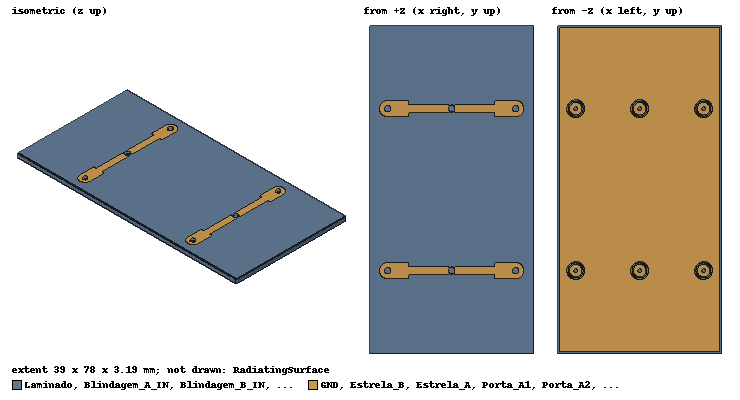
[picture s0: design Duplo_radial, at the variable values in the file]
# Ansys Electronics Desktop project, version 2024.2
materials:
  vacuum: permittivity=1
  ZYF300CA_P: permittivity=3 dielectric_loss_tangent=0.0018
  SAC305: permeability=1 conductivity=7575758
  PTFE_UT141: permittivity=2.036 dielectric_loss_tangent=0.0002
  copper: permeability=0.999991 conductivity=58000000

design Duplo_radial (HFSS, HFSS Hybrid Modal Network, model units mm)
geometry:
  Laminado [ZYF300CA_P] = box(corner=(-19.5mm, -39mm, 0mm), size=(39mm, 78mm, 1.52mm))
  GND = polyline(z=0mm, xy in mm: (-18.98, -38.48) (18.98, -38.48) (18.98, 38.48) (-18.98, 38.48) (-18.98, -38.48), closed, covered)
  Estrela_B = polyline(z=1.52mm, xy in mm: (-10.311, 21.16) (-10.311, 20.299) (-0.6, 20.299) (-0.6, 19.86522572) (-0.52353483, 19.93228387) (-0.43, 19.99478185) (-0.32910775, 20.0445364) (-0.22258438, 20.08069621) (-0.11225253, 20.10264258) (0, 20.11) (0.11225253, 20.10264258) (0.22258438, 20.08069621) (0.32910775, 20.0445364) (0.43, 19.99478185) (0.52353483, 19.93228387) (0.6, 19.86522572) (0.6, 20.299) (10.311, 20.299) (10.311, 21.16) (15.2, 21.16) (15.44930503, 21.14365969) (15.69434438, 21.09491833) (15.93092536, 21.01460991) (16.155, 20.90410852) (16.36273433, 20.76530488) (16.55057395, 20.60057395) (16.71530488, 20.41273433) (16.85410852, 20.205) (16.96460991, 19.98092536) (17.04491833, 19.74434438) (17.09365969, 19.49930503) (17.11, 19.25) (17.09365969, 19.00069497) (17.04491833, 18.75565562) (16.96460991, 18.51907464) (16.85410852, 18.295) (16.71530488, 18.08726567) (16.55057395, 17.89942605) (16.36273433, 17.73469512) (16.155, 17.59589148) (15.93092536, 17.48539009) (15.69434438, 17.40508167) (15.44930503, 17.35634031) (15.2, 17.34) (10.311, 17.34) (10.311, 18.201) (0.6, 18.201) (0.6, 18.63477428) (0.52353483, 18.56771613) (0.43, 18.50521815) (0.32910775, 18.4554636) (0.22258438, 18.41930379) (0.11225253, 18.39735742) (0, 18.39) (-0.11225253, 18.39735742) (-0.22258438, 18.41930379) (-0.32910775, 18.4554636) (-0.43, 18.50521815) (-0.52353483, 18.56771613) (-0.6, 18.63477428) (-0.6, 18.201) (-10.311, 18.201) (-10.311, 17.34) (-15.2, 17.34) (-15.44930503, 17.35634031) (-15.69434438, 17.40508167) (-15.93092536, 17.48539009) (-16.155, 17.59589148) (-16.36273433, 17.73469512) (-16.55057395, 17.89942605) (-16.71530488, 18.08726567) (-16.85410852, 18.295) (-16.96460991, 18.51907464) (-17.04491833, 18.75565562) (-17.09365969, 19.00069497) (-17.11, 19.25) (-17.09365969, 19.49930503) (-17.04491833, 19.74434438) (-16.96460991, 19.98092536) (-16.85410852, 20.205) (-16.71530488, 20.41273433) (-16.55057395, 20.60057395) (-16.36273433, 20.76530488) (-16.155, 20.90410852) (-15.93092536, 21.01460991) (-15.69434438, 21.09491833) (-15.44930503, 21.14365969) (-15.2, 21.16) (-15.2, 21.16) (-10.311, 21.16), closed, covered)
  Estrela_A = polyline(z=1.52mm, xy in mm: (-15.44930503, -21.14365969) (-15.69434438, -21.09491833) (-15.93092536, -21.01460991) (-16.155, -20.90410852) (-16.36273433, -20.76530488) (-16.55057395, -20.60057395) (-16.71530488, -20.41273433) (-16.85410852, -20.205) (-16.96460991, -19.98092536) (-17.04491833, -19.74434438) (-17.09365969, -19.49930503) (-17.11, -19.25) (-17.09365969, -19.00069497) (-17.04491833, -18.75565562) (-16.96460991, -18.51907464) (-16.85410852, -18.295) (-16.71530488, -18.08726567) (-16.55057395, -17.89942605) (-16.36273433, -17.73469512) (-16.155, -17.59589148) (-15.93092536, -17.48539009) (-15.69434438, -17.40508167) (-15.44930503, -17.35634031) (-15.2, -17.34) (-10.311, -17.34) (-10.311, -18.201) (-0.6, -18.201) (-0.6, -18.63477428) (-0.52353483, -18.56771613) (-0.43, -18.50521815) (-0.32910775, -18.4554636) (-0.22258438, -18.41930379) (-0.11225253, -18.39735742) (0, -18.39) (0.11225253, -18.39735742) (0.22258438, -18.41930379) (0.32910775, -18.4554636) (0.43, -18.50521815) (0.52353483, -18.56771613) (0.6, -18.63477428) (0.6, -18.201) (10.311, -18.201) (10.311, -17.34) (15.2, -17.34) (15.44930503, -17.35634031) (15.69434438, -17.40508167) (15.93092536, -17.48539009) (16.155, -17.59589148) (16.36273433, -17.73469512) (16.55057395, -17.89942605) (16.71530488, -18.08726567) (16.85410852, -18.295) (16.96460991, -18.51907464) (17.04491833, -18.75565562) (17.09365969, -19.00069497) (17.11, -19.25) (17.09365969, -19.49930503) (17.04491833, -19.74434438) (16.96460991, -19.98092536) (16.85410852, -20.205) (16.71530488, -20.41273433) (16.55057395, -20.60057395) (16.36273433, -20.76530488) (16.155, -20.90410852) (15.93092536, -21.01460991) (15.69434438, -21.09491833) (15.44930503, -21.14365969) (15.2, -21.16) (10.311, -21.16) (10.311, -20.299) (0.6, -20.299) (0.6, -19.86522572) (0.52353483, -19.93228387) (0.43, -19.99478185) (0.32910775, -20.0445364) (0.22258438, -20.08069621) (0.11225253, -20.10264258) (0, -20.11) (-0.11225253, -20.10264258) (-0.22258438, -20.08069621) (-0.32910775, -20.0445364) (-0.43, -19.99478185) (-0.52353483, -19.93228387) (-0.6, -19.86522572) (-0.6, -20.299) (-10.311, -20.299) (-10.311, -21.16) (-15.2, -21.16) (-15.2, -21.16) (-15.44930503, -21.14365969), closed, covered)
  Abertura_A_IN = circle(normal=Z, centre=(0mm, -19.25mm, 0mm), radius=1.515mm, segments=24)
  Pino_A_IN [copper] = cylinder(axis=Z, base_centre=(0mm, -19.25mm, 0mm), radius=0.525mm, height=1.52mm, segments=24)
  Anel_A_IN = circle(normal=Z, centre=(0mm, -19.25mm, 0mm), radius=0.73mm, segments=24)
  Blindagem_A_IN [copper] = cylinder(axis=Z, base_centre=(0mm, -19.25mm, -1.5mm), radius=1.7905mm, height=1.5mm, segments=24)
  PTFE_A_IN [PTFE_UT141] = cylinder(axis=Z, base_centre=(0mm, -19.25mm, -1.5mm), radius=1.515mm, height=1.5mm, segments=24)
  PTFE_A_IN_1 = PTFE_A_IN.copy()
  Blindagem_A_IN.subtract(PTFE_A_IN_1)
  Central_A_IN [copper] = cylinder(axis=Z, base_centre=(0mm, -19.25mm, -1.5mm), radius=0.45975mm, height=1.5mm, segments=24)
  Central_A_IN_1 = Central_A_IN.copy()
  PTFE_A_IN.subtract(Central_A_IN_1)
  Solda_ext_A_IN [SAC305] = cylinder(axis=Z, base_centre=(0mm, -19.25mm, -0.18mm), radius=2.13mm, height=0.18mm, segments=24)
  Recorte_ext_A_IN = cylinder(axis=Z, base_centre=(0mm, -19.25mm, -0.18mm), radius=1.7905mm, height=0.18mm, segments=24)
  Solda_ext_A_IN.subtract(Recorte_ext_A_IN)
  Solda_top_A_IN [SAC305] = cylinder(axis=Z, base_centre=(0mm, -19.25mm, 1.52mm), radius=0.74mm, height=0.17mm, segments=24)
  Abertura_A1 = circle(normal=Z, centre=(-15.2mm, -19.25mm, 0mm), radius=1.515mm, segments=24)
  Pino_A1 [copper] = cylinder(axis=Z, base_centre=(-15.2mm, -19.25mm, 0mm), radius=0.525mm, height=1.52mm, segments=24)
  Anel_A1 = circle(normal=Z, centre=(-15.2mm, -19.25mm, 0mm), radius=0.73mm, segments=24)
  Blindagem_A1 [copper] = cylinder(axis=Z, base_centre=(-15.2mm, -19.25mm, -1.5mm), radius=1.7905mm, height=1.5mm, segments=24)
  PTFE_A1 [PTFE_UT141] = cylinder(axis=Z, base_centre=(-15.2mm, -19.25mm, -1.5mm), radius=1.515mm, height=1.5mm, segments=24)
  PTFE_A1_1 = PTFE_A1.copy()
  Blindagem_A1.subtract(PTFE_A1_1)
  Central_A1 [copper] = cylinder(axis=Z, base_centre=(-15.2mm, -19.25mm, -1.5mm), radius=0.45975mm, height=1.5mm, segments=24)
  Central_A1_1 = Central_A1.copy()
  PTFE_A1.subtract(Central_A1_1)
  Solda_ext_A1 [SAC305] = cylinder(axis=Z, base_centre=(-15.2mm, -19.25mm, -0.18mm), radius=2.13mm, height=0.18mm, segments=24)
  Recorte_ext_A1 = cylinder(axis=Z, base_centre=(-15.2mm, -19.25mm, -0.18mm), radius=1.7905mm, height=0.18mm, segments=24)
  Solda_ext_A1.subtract(Recorte_ext_A1)
  Solda_top_A1 [SAC305] = cylinder(axis=Z, base_centre=(-15.2mm, -19.25mm, 1.52mm), radius=0.74mm, height=0.17mm, segments=24)
  Abertura_A2 = circle(normal=Z, centre=(15.2mm, -19.25mm, 0mm), radius=1.515mm, segments=24)
  Pino_A2 [copper] = cylinder(axis=Z, base_centre=(15.2mm, -19.25mm, 0mm), radius=0.525mm, height=1.52mm, segments=24)
  Anel_A2 = circle(normal=Z, centre=(15.2mm, -19.25mm, 0mm), radius=0.73mm, segments=24)
  Blindagem_A2 [copper] = cylinder(axis=Z, base_centre=(15.2mm, -19.25mm, -1.5mm), radius=1.7905mm, height=1.5mm, segments=24)
  PTFE_A2 [PTFE_UT141] = cylinder(axis=Z, base_centre=(15.2mm, -19.25mm, -1.5mm), radius=1.515mm, height=1.5mm, segments=24)
  PTFE_A2_1 = PTFE_A2.copy()
  Blindagem_A2.subtract(PTFE_A2_1)
  Central_A2 [copper] = cylinder(axis=Z, base_centre=(15.2mm, -19.25mm, -1.5mm), radius=0.45975mm, height=1.5mm, segments=24)
  Central_A2_1 = Central_A2.copy()
  PTFE_A2.subtract(Central_A2_1)
  Solda_ext_A2 [SAC305] = cylinder(axis=Z, base_centre=(15.2mm, -19.25mm, -0.18mm), radius=2.13mm, height=0.18mm, segments=24)
  Recorte_ext_A2 = cylinder(axis=Z, base_centre=(15.2mm, -19.25mm, -0.18mm), radius=1.7905mm, height=0.18mm, segments=24)
  Solda_ext_A2.subtract(Recorte_ext_A2)
  Solda_top_A2 [SAC305] = cylinder(axis=Z, base_centre=(15.2mm, -19.25mm, 1.52mm), radius=0.74mm, height=0.17mm, segments=24)
  Abertura_B_IN = circle(normal=Z, centre=(0mm, 19.25mm, 0mm), radius=1.515mm, segments=24)
  Pino_B_IN [copper] = cylinder(axis=Z, base_centre=(0mm, 19.25mm, 0mm), radius=0.525mm, height=1.52mm, segments=24)
  Anel_B_IN = circle(normal=Z, centre=(0mm, 19.25mm, 0mm), radius=0.73mm, segments=24)
  Blindagem_B_IN [copper] = cylinder(axis=Z, base_centre=(0mm, 19.25mm, -1.5mm), radius=1.7905mm, height=1.5mm, segments=24)
  PTFE_B_IN [PTFE_UT141] = cylinder(axis=Z, base_centre=(0mm, 19.25mm, -1.5mm), radius=1.515mm, height=1.5mm, segments=24)
  PTFE_B_IN_1 = PTFE_B_IN.copy()
  Blindagem_B_IN.subtract(PTFE_B_IN_1)
  Central_B_IN [copper] = cylinder(axis=Z, base_centre=(0mm, 19.25mm, -1.5mm), radius=0.45975mm, height=1.5mm, segments=24)
  Central_B_IN_1 = Central_B_IN.copy()
  PTFE_B_IN.subtract(Central_B_IN_1)
  Solda_ext_B_IN [SAC305] = cylinder(axis=Z, base_centre=(0mm, 19.25mm, -0.18mm), radius=2.13mm, height=0.18mm, segments=24)
  Recorte_ext_B_IN = cylinder(axis=Z, base_centre=(0mm, 19.25mm, -0.18mm), radius=1.7905mm, height=0.18mm, segments=24)
  Solda_ext_B_IN.subtract(Recorte_ext_B_IN)
  Solda_top_B_IN [SAC305] = cylinder(axis=Z, base_centre=(0mm, 19.25mm, 1.52mm), radius=0.74mm, height=0.17mm, segments=24)
  Abertura_B1 = circle(normal=Z, centre=(-15.2mm, 19.25mm, 0mm), radius=1.515mm, segments=24)
  Pino_B1 [copper] = cylinder(axis=Z, base_centre=(-15.2mm, 19.25mm, 0mm), radius=0.525mm, height=1.52mm, segments=24)
  Anel_B1 = circle(normal=Z, centre=(-15.2mm, 19.25mm, 0mm), radius=0.73mm, segments=24)
  Blindagem_B1 [copper] = cylinder(axis=Z, base_centre=(-15.2mm, 19.25mm, -1.5mm), radius=1.7905mm, height=1.5mm, segments=24)
  PTFE_B1 [PTFE_UT141] = cylinder(axis=Z, base_centre=(-15.2mm, 19.25mm, -1.5mm), radius=1.515mm, height=1.5mm, segments=24)
  PTFE_B1_1 = PTFE_B1.copy()
  Blindagem_B1.subtract(PTFE_B1_1)
  Central_B1 [copper] = cylinder(axis=Z, base_centre=(-15.2mm, 19.25mm, -1.5mm), radius=0.45975mm, height=1.5mm, segments=24)
  Central_B1_1 = Central_B1.copy()
  PTFE_B1.subtract(Central_B1_1)
  Solda_ext_B1 [SAC305] = cylinder(axis=Z, base_centre=(-15.2mm, 19.25mm, -0.18mm), radius=2.13mm, height=0.18mm, segments=24)
  Recorte_ext_B1 = cylinder(axis=Z, base_centre=(-15.2mm, 19.25mm, -0.18mm), radius=1.7905mm, height=0.18mm, segments=24)
  Solda_ext_B1.subtract(Recorte_ext_B1)
  Solda_top_B1 [SAC305] = cylinder(axis=Z, base_centre=(-15.2mm, 19.25mm, 1.52mm), radius=0.74mm, height=0.17mm, segments=24)
  Abertura_B2 = circle(normal=Z, centre=(15.2mm, 19.25mm, 0mm), radius=1.515mm, segments=24)
  Pino_B2 [copper] = cylinder(axis=Z, base_centre=(15.2mm, 19.25mm, 0mm), radius=0.525mm, height=1.52mm, segments=24)
  Anel_B2 = circle(normal=Z, centre=(15.2mm, 19.25mm, 0mm), radius=0.73mm, segments=24)
  Blindagem_B2 [copper] = cylinder(axis=Z, base_centre=(15.2mm, 19.25mm, -1.5mm), radius=1.7905mm, height=1.5mm, segments=24)
  PTFE_B2 [PTFE_UT141] = cylinder(axis=Z, base_centre=(15.2mm, 19.25mm, -1.5mm), radius=1.515mm, height=1.5mm, segments=24)
  PTFE_B2_1 = PTFE_B2.copy()
  Blindagem_B2.subtract(PTFE_B2_1)
  Central_B2 [copper] = cylinder(axis=Z, base_centre=(15.2mm, 19.25mm, -1.5mm), radius=0.45975mm, height=1.5mm, segments=24)
  Central_B2_1 = Central_B2.copy()
  PTFE_B2.subtract(Central_B2_1)
  Solda_ext_B2 [SAC305] = cylinder(axis=Z, base_centre=(15.2mm, 19.25mm, -0.18mm), radius=2.13mm, height=0.18mm, segments=24)
  Recorte_ext_B2 = cylinder(axis=Z, base_centre=(15.2mm, 19.25mm, -0.18mm), radius=1.7905mm, height=0.18mm, segments=24)
  Solda_ext_B2.subtract(Recorte_ext_B2)
  Solda_top_B2 [SAC305] = cylinder(axis=Z, base_centre=(15.2mm, 19.25mm, 1.52mm), radius=0.74mm, height=0.17mm, segments=24)
  GND.subtract(Abertura_A_IN, Abertura_A1, Abertura_A2, Abertura_B_IN, Abertura_B1, Abertura_B2)
  Pino_A_IN_1 = Pino_A_IN.copy()
  Pino_A1_1 = Pino_A1.copy()
  Pino_A2_1 = Pino_A2.copy()
  Pino_B_IN_1 = Pino_B_IN.copy()
  Pino_B1_1 = Pino_B1.copy()
  Pino_B2_1 = Pino_B2.copy()
  Laminado.subtract(Pino_A_IN_1, Pino_A1_1, Pino_A2_1, Pino_B_IN_1, Pino_B1_1, Pino_B2_1)
  Porta_A_IN = circle(normal=Z, centre=(0mm, -19.25mm, -1.5mm), radius=1.515mm, segments=24)
  Buraco_A_IN = circle(normal=Z, centre=(0mm, -19.25mm, -1.5mm), radius=0.45975mm, segments=24)
  Porta_A_IN.subtract(Buraco_A_IN)
  Porta_A1 = circle(normal=Z, centre=(-15.2mm, -19.25mm, -1.5mm), radius=1.515mm, segments=24)
  Buraco_A1 = circle(normal=Z, centre=(-15.2mm, -19.25mm, -1.5mm), radius=0.45975mm, segments=24)
  Porta_A1.subtract(Buraco_A1)
  Porta_A2 = circle(normal=Z, centre=(15.2mm, -19.25mm, -1.5mm), radius=1.515mm, segments=24)
  Buraco_A2 = circle(normal=Z, centre=(15.2mm, -19.25mm, -1.5mm), radius=0.45975mm, segments=24)
  Porta_A2.subtract(Buraco_A2)
  Porta_B_IN = circle(normal=Z, centre=(0mm, 19.25mm, -1.5mm), radius=1.515mm, segments=24)
  Buraco_B_IN = circle(normal=Z, centre=(0mm, 19.25mm, -1.5mm), radius=0.45975mm, segments=24)
  Porta_B_IN.subtract(Buraco_B_IN)
  Porta_B1 = circle(normal=Z, centre=(-15.2mm, 19.25mm, -1.5mm), radius=1.515mm, segments=24)
  Buraco_B1 = circle(normal=Z, centre=(-15.2mm, 19.25mm, -1.5mm), radius=0.45975mm, segments=24)
  Porta_B1.subtract(Buraco_B1)
  Porta_B2 = circle(normal=Z, centre=(15.2mm, 19.25mm, -1.5mm), radius=1.515mm, segments=24)
  Buraco_B2 = circle(normal=Z, centre=(15.2mm, 19.25mm, -1.5mm), radius=0.45975mm, segments=24)
  Porta_B2.subtract(Buraco_B2)
  RadiatingSurface [vacuum] = region(absolute_offset=19.646365mm on all sides)
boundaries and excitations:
  Cobre_35um: Finite Conductivity Objects=[GND, Estrela_B, Estrela_A, Anel_A_IN, Anel_A1, Anel_A2, Anel_B_IN, Anel_B1, Anel_B2] UseMaterial Material=copper Thickness=0.035mm Roughness=0.5um IsInternal
  Open1: Radiation Objects=RadiatingSurface
  A_IN: Lumped Port Objects=Porta_A_IN LumpedPortType=Modal Modes{Mode1{IntLine{(0.45975, -19.25, -1.5) -> (1.515, -19.25, -1.5)} CharImp=Zpi RenormImp=50ohm}} Impedance=50ohm
  A1: Lumped Port Objects=Porta_A1 LumpedPortType=Modal Modes{Mode1{IntLine{(-14.74025, -19.25, -1.5) -> (-13.685, -19.25, -1.5)} CharImp=Zpi RenormImp=50ohm}} Impedance=50ohm
  A2: Lumped Port Objects=Porta_A2 LumpedPortType=Modal Modes{Mode1{IntLine{(15.65975, -19.25, -1.5) -> (16.715, -19.25, -1.5)} CharImp=Zpi RenormImp=50ohm}} Impedance=50ohm
  B_IN: Lumped Port Objects=Porta_B_IN LumpedPortType=Modal Modes{Mode1{IntLine{(0.45975, 19.25, -1.5) -> (1.515, 19.25, -1.5)} CharImp=Zpi RenormImp=50ohm}} Impedance=50ohm
  B1: Lumped Port Objects=Porta_B1 LumpedPortType=Modal Modes{Mode1{IntLine{(-14.74025, 19.25, -1.5) -> (-13.685, 19.25, -1.5)} CharImp=Zpi RenormImp=50ohm}} Impedance=50ohm
  B2: Lumped Port Objects=Porta_B2 LumpedPortType=Modal Modes{Mode1{IntLine{(15.65975, 19.25, -1.5) -> (16.715, 19.25, -1.5)} CharImp=Zpi RenormImp=50ohm}} Impedance=50ohm
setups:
  Divisor: HfssDriven Frequency=5.17GHz MaxDeltaS=0.012 MaximumPasses=16 MinimumPasses=3 MinimumConvergedPasses=2 PercentRefinement=24 BasisOrder=1 PortAccuracy=2 DrivenSolverType="Direct Solver"
    sweep Banda: 5090MHz to 5250MHz step 10MHz; Type=Discrete
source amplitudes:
  A_IN:1: 1W 0deg
  A1:1, A2:1, B_IN:1, B1:1, B2:1: 0W 0deg
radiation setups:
  3D: Infinite Sphere Theta=0deg..180deg step 2deg Phi=-180deg..180deg step 2deg
  Elevation: Infinite Sphere Theta=-180deg..180deg step 1deg Phi=0deg..90deg step 90deg
  Azimuth: Infinite Sphere Theta=90deg..90deg step 0deg Phi=-180deg..180deg step 1deg
